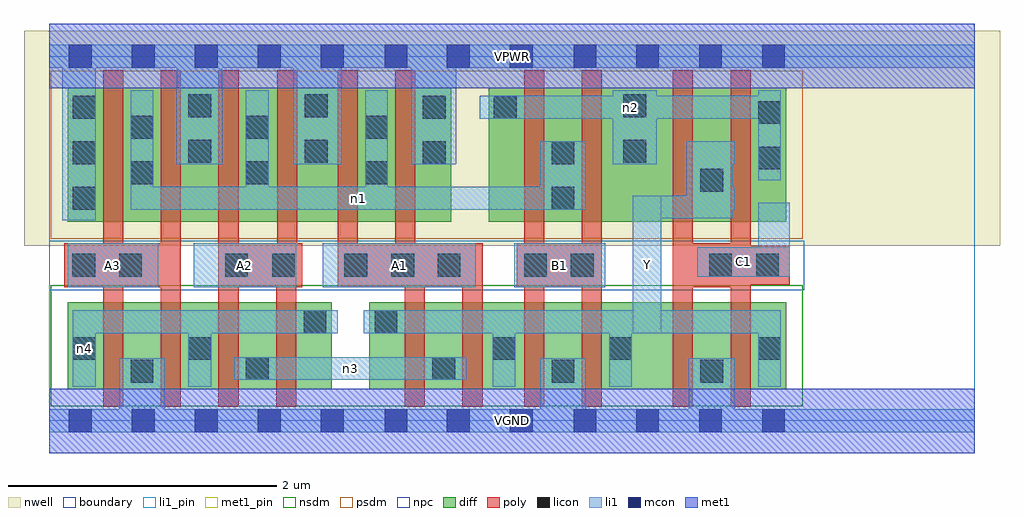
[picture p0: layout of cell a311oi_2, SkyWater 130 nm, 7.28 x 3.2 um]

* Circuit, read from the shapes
.subckt a311oi_2 A1 A2 A3 B1 C1 VGND VPWR Y n1 n2 n3 n4
XM1 VGND A3 n4 VSUBS sky130_fd_pr__nfet_01v8 w=0.65 l=0.15 m=2
XM2 n3 A2 n4 VSUBS sky130_fd_pr__nfet_01v8 w=0.65 l=0.15 m=2
XM3 n3 A1 Y VSUBS sky130_fd_pr__nfet_01v8 w=0.65 l=0.15 m=2
XM4 VGND B1 Y VSUBS sky130_fd_pr__nfet_01v8 w=0.65 l=0.15 m=2
XM5 VGND C1 Y VSUBS sky130_fd_pr__nfet_01v8 w=0.65 l=0.15 m=2
XM6 n1 A3 VPWR n5 sky130_fd_pr__pfet_01v8 w=1 l=0.15 m=2
XM7 n1 A2 VPWR n5 sky130_fd_pr__pfet_01v8 w=1 l=0.15 m=2
XM8 n1 A1 VPWR n5 sky130_fd_pr__pfet_01v8 w=1 l=0.15 m=2
XM9 n1 B1 n2 n5 sky130_fd_pr__pfet_01v8 w=1 l=0.15 m=2
XM10 Y C1 n2 n5 sky130_fd_pr__pfet_01v8 w=1 l=0.15 m=2
.ends

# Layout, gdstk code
import gdstk
lib = gdstk.Library(unit=1e-6, precision=1e-09)
def R(c, l, rs):  # rectangles x0, y0, x1, y1
    for r in rs: c.add(gdstk.rectangle(r[:2], r[2:], *l))
def A(c, l, x, y, w, h, nx, ny, dx, dy):  # array of equal rectangles
    R(c, l, [(x+i*dx, y+j*dy, x+i*dx+w, y+j*dy+h) for i in range(nx) for j in range(ny)])
nwell = (64, 20)
diff = (65, 20)
poly = (66, 20)
licon = (66, 44)
li1_pin = (67, 16)
li1 = (67, 20)
mcon = (67, 44)
met1_pin = (68, 16)
met1 = (68, 20)
nsdm = (93, 44)
psdm = (94, 20)
npc = (95, 20)
boundary = (235, 4)

a311oi_2 = lib.new_cell('a311oi_2')
R(a311oi_2, nwell, [(-0.19,1.305,7.09,2.91), (0,1.305,6.9,2.91)])
R(a311oi_2, diff, [(0.135,0.235,2.105,0.885), (2.385,0.235,5.495,0.885), (0.135,1.485,2.995,2.485), (3.275,1.485,5.495,2.485)])
A(a311oi_2, poly, 0.4, 0.105, 0.15, 2.51, 3, 1, 0.43, 0)
R(a311oi_2, poly, [(1.69,0.105,1.84,1.325), (2.65,0.105,2.8,1.325), (3.08,0.105,3.23,1.325), (3.54,0.105,3.69,2.615), (3.97,0.105,4.12,2.615), (4.65,0.105,4.8,2.615), (5.08,0.105,5.23,2.615), (0.11,0.995,0.98,1.325), (1.26,0.995,1.885,1.325), (1.7,0.995,1.85,2.615), (2.15,0.995,2.3,2.615), (2.15,0.995,3.23,1.325), (2.58,0.995,2.73,2.615), (3.485,0.995,4.12,1.325), (4.65,0.995,5.23,1.325), (4.65,1.015,5.52,1.305)])
A(a311oi_2, licon, 0.175, 1.575, 0.17, 0.17, 1, 3, 0, 0.34)
R(a311oi_2, licon, [(0.605,0.285,0.775,0.455), (3.745,0.285,3.915,0.455), (4.855,0.285,5.025,0.455), (1.465,0.305,1.635,0.475), (2.855,0.305,3.025,0.475), (0.175,0.455,0.345,0.625), (1.035,0.455,1.205,0.625), (3.305,0.455,3.475,0.625), (4.175,0.455,4.345,0.625), (5.285,0.455,5.455,0.625), (1.895,0.655,2.065,0.825), (2.425,0.655,2.595,0.825), (0.17,1.075,0.34,1.245), (0.52,1.075,0.69,1.245), (1.31,1.075,1.48,1.245), (1.66,1.075,1.83,1.245), (2.2,1.075,2.37,1.245), (2.55,1.075,2.72,1.245), (2.895,1.075,3.065,1.245), (3.54,1.075,3.71,1.245), (3.89,1.075,4.06,1.245), (4.92,1.075,5.09,1.245), (5.27,1.075,5.44,1.245), (3.745,1.575,3.915,1.745), (4.855,1.71,5.025,1.88), (0.605,1.765,0.775,1.935), (1.465,1.765,1.635,1.935), (2.355,1.765,2.525,1.935), (5.285,1.875,5.455,2.045), (2.785,1.915,2.955,2.085), (3.745,1.915,3.915,2.085), (1.035,1.925,1.205,2.095), (1.905,1.925,2.075,2.095), (4.28,1.925,4.45,2.095), (0.605,2.105,0.775,2.275), (1.465,2.105,1.635,2.275), (2.355,2.105,2.525,2.275), (5.285,2.215,5.455,2.385), (2.785,2.255,2.955,2.425), (3.315,2.255,3.485,2.425), (1.035,2.265,1.205,2.435), (1.905,2.265,2.075,2.435), (4.28,2.265,4.45,2.435)])
R(a311oi_2, li1_pin, [(4.35,0.655,4.565,1.68), (0.135,0.995,0.81,1.325), (1.075,0.995,1.84,1.325), (2.04,0.995,3.18,1.325), (3.465,0.995,4.145,1.325), (4.83,1.075,5.52,1.295)])
R(a311oi_2, li1, [(0,-0.085,6.9,0.085), (0.52,-0.085,0.86,0.465), (3.66,-0.085,4,0.465), (4.77,-0.085,5.11,0.465), (0.175,0.255,0.345,0.825), (1.035,0.255,1.205,0.825), (3.305,0.255,3.475,0.825), (4.175,0.255,4.345,0.825), (5.285,0.255,5.455,0.825), (1.38,0.305,3.11,0.475), (0.175,0.655,2.15,0.825), (2.345,0.655,5.455,0.825), (4.35,0.655,4.565,1.68), (0.135,0.995,0.81,1.325), (1.075,0.995,1.84,1.325), (2.04,0.995,3.18,1.325), (3.465,0.995,4.145,1.325), (4.83,1.075,5.52,1.295), (5.285,1.075,5.52,1.625), (0.095,1.495,0.345,2.805), (4.35,1.51,5.095,1.68), (4.755,1.51,5.095,2.085), (0.605,1.575,4,1.745), (0.605,1.575,0.775,2.465), (1.465,1.575,1.635,2.465), (2.355,1.575,2.525,2.465), (3.66,1.575,4,2.085), (4.755,1.575,5.11,1.745), (5.285,1.795,5.455,2.465), (0.95,1.915,1.29,2.805), (1.82,1.915,2.18,2.805), (2.7,1.915,3.035,2.805), (4.2,1.915,4.53,2.465), (4.755,1.915,5.11,2.085), (3.21,2.255,5.455,2.425), (0,2.635,6.9,2.805)])
A(a311oi_2, mcon, 0.145, -0.085, 0.17, 0.17, 5, 2, 0.47, 2.72)
A(a311oi_2, mcon, 4.375, -0.085, 0.17, 0.17, 3, 2, 0.47, 2.72)
R(a311oi_2, mcon, [(2.5,-0.085,2.67,0.085), (2.965,-0.085,3.135,0.085), (3.435,-0.085,3.605,0.085), (3.91,-0.085,4.08,0.085), (2.5,2.635,2.67,2.805), (2.965,2.635,3.135,2.805), (3.435,2.635,3.605,2.805), (3.91,2.635,4.08,2.805)])
R(a311oi_2, met1_pin, [(0,-0.24,6.9,0.24), (0,2.48,6.9,2.96)])
R(a311oi_2, met1, [(0,-0.24,6.9,0.24), (0,2.48,6.9,2.96)])
R(a311oi_2, nsdm, [(0.01,0.11,5.62,1.01)])
R(a311oi_2, psdm, [(0.01,1.36,5.62,2.61)])
R(a311oi_2, npc, [(0,0.975,5.63,1.345)])
R(a311oi_2, boundary, [(0,0,6.9,2.72)])
a311oi_2.add(gdstk.Label('A1', (2.61,1.16), layer=67, texttype=5))
a311oi_2.add(gdstk.Label('A2', (1.457,1.16), layer=67, texttype=5))
a311oi_2.add(gdstk.Label('A3', (0.472,1.16), layer=67, texttype=5))
a311oi_2.add(gdstk.Label('B1', (3.805,1.16), layer=67, texttype=5))
a311oi_2.add(gdstk.Label('C1', (5.175,1.185), layer=67, texttype=5))
a311oi_2.add(gdstk.Label('Y', (4.457,1.167), layer=67, texttype=5))
a311oi_2.add(gdstk.Label('n3', (2.245,0.39), layer=67, texttype=5))
a311oi_2.add(gdstk.Label('n4', (0.26,0.54), layer=67, texttype=5))
a311oi_2.add(gdstk.Label('n1', (2.302,1.66), layer=67, texttype=5))
a311oi_2.add(gdstk.Label('n2', (4.332,2.34), layer=67, texttype=5))
a311oi_2.add(gdstk.Label('VPWR', (3.45,2.72), layer=68, texttype=5))
a311oi_2.add(gdstk.Label('VGND', (3.45,0), layer=68, texttype=5))
a311oi_2.add(gdstk.Label('A1', (2.61,1.16), layer=67, texttype=16))
a311oi_2.add(gdstk.Label('A2', (1.457,1.16), layer=67, texttype=16))
a311oi_2.add(gdstk.Label('A3', (0.472,1.16), layer=67, texttype=16))
a311oi_2.add(gdstk.Label('B1', (3.805,1.16), layer=67, texttype=16))
a311oi_2.add(gdstk.Label('C1', (5.175,1.185), layer=67, texttype=16))
a311oi_2.add(gdstk.Label('Y', (4.457,1.167), layer=67, texttype=16))
a311oi_2.add(gdstk.Label('VPWR', (3.45,2.72), layer=68, texttype=16))
a311oi_2.add(gdstk.Label('VGND', (3.45,0), layer=68, texttype=16))

lib.write_gds('a311oi_2.gds')
